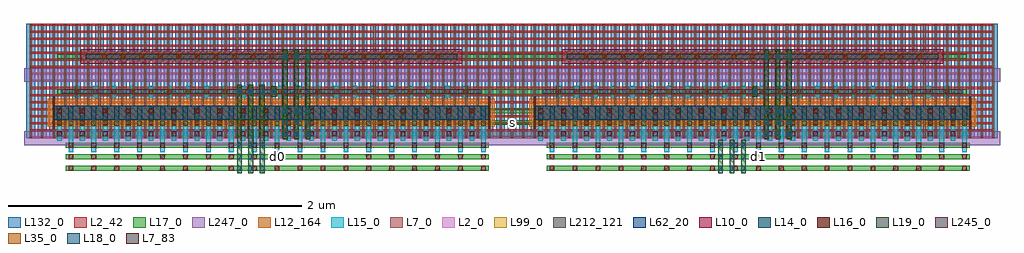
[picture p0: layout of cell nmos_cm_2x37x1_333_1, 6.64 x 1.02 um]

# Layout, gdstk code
import gdstk
lib = gdstk.Library(unit=1e-6, precision=1e-12)
def R(c, l, rs):  # rectangles x0, y0, x1, y1
    for r in rs: c.add(gdstk.rectangle(r[:2], r[2:], *l))
def A(c, l, x, y, w, h, nx, ny, dx, dy):  # array of equal rectangles
    R(c, l, [(x+i*dx, y+j*dy, x+i*dx+w, y+j*dy+h) for i in range(nx) for j in range(ny)])
L2_0 = (2, 0)
L2_42 = (2, 42)
L7_0 = (7, 0)
L7_83 = (7, 83)
L10_0 = (10, 0)
L12_164 = (12, 164)
L14_0 = (14, 0)
L15_0 = (15, 0)
L16_0 = (16, 0)
L17_0 = (17, 0)
L18_0 = (18, 0)
L19_0 = (19, 0)
L35_0 = (35, 0)
L62_20 = (62, 20)
L99_0 = (99, 0)
L132_0 = (132, 0)
L212_121 = (212, 121)
L245_0 = (245, 0)
L247_0 = (247, 0)

nmos_cm_2x37x1_333_1 = lib.new_cell('nmos_cm_2x37x1_333_1')
R(nmos_cm_2x37x1_333_1, L2_0, [(0.186,0.127,3.15,0.223), (3.462,0.127,6.426,0.223), (0.3893,0.527,2.9467,0.587), (3.6653,0.527,6.2227,0.587)])
A(nmos_cm_2x37x1_333_1, L2_42, 0.023, 0, 6.552, 0.014, 1, 17, 0, 0.048)
A(nmos_cm_2x37x1_333_1, L7_0, 0.023, 0, 0.014, 0.782, 85, 1, 0.078, 0)
R(nmos_cm_2x37x1_333_1, L7_83, [(0.179,0.067,0.193,0.283), (3.143,0.067,3.157,0.283), (3.455,0.067,3.469,0.283), (6.419,0.067,6.433,0.283)])
R(nmos_cm_2x37x1_333_1, L10_0, [(0.3693,0.507,2.9667,0.607), (3.6453,0.507,6.2427,0.607)])
R(nmos_cm_2x37x1_333_1, L12_164, [(0.147,0.079,3.189,0.271), (3.423,0.079,6.465,0.271)])
A(nmos_cm_2x37x1_333_1, L14_0, 0.208, 0.127, 0.034, 0.096, 38, 1, 0.078, 0)
A(nmos_cm_2x37x1_333_1, L14_0, 3.484, 0.127, 0.034, 0.096, 38, 1, 0.078, 0)
R(nmos_cm_2x37x1_333_1, L14_0, [(0.4043,0.537,2.9317,0.577), (3.6803,0.537,6.2077,0.577)])
A(nmos_cm_2x37x1_333_1, L15_0, 0.287, -0.095, 0.032, 0.223, 19, 1, 0.156, 0)
A(nmos_cm_2x37x1_333_1, L15_0, 3.563, -0.095, 0.032, 0.223, 19, 1, 0.156, 0)
A(nmos_cm_2x37x1_333_1, L15_0, 0.209, -0.017, 0.032, 0.24, 38, 1, 0.078, 0)
A(nmos_cm_2x37x1_333_1, L15_0, 3.485, -0.017, 0.032, 0.24, 38, 1, 0.078, 0)
A(nmos_cm_2x37x1_333_1, L15_0, 0.329, 0.278, 0.032, 0.08, 22, 1, 0.126, 0)
A(nmos_cm_2x37x1_333_1, L15_0, 3.605, 0.278, 0.032, 0.08, 22, 1, 0.126, 0)
A(nmos_cm_2x37x1_333_1, L15_0, 0.518, 0.517, 0.032, 0.08, 19, 1, 0.126, 0)
A(nmos_cm_2x37x1_333_1, L15_0, 3.794, 0.517, 0.032, 0.08, 19, 1, 0.126, 0)
A(nmos_cm_2x37x1_333_1, L16_0, 0.287, -0.219, 0.032, 0.032, 19, 3, 0.156, 0.078)
A(nmos_cm_2x37x1_333_1, L16_0, 3.563, -0.219, 0.032, 0.032, 19, 3, 0.156, 0.078)
A(nmos_cm_2x37x1_333_1, L16_0, 0.209, 0.015, 0.032, 0.032, 19, 3, 0.156, 0.078)
A(nmos_cm_2x37x1_333_1, L16_0, 3.485, 0.015, 0.032, 0.032, 19, 3, 0.156, 0.078)
A(nmos_cm_2x37x1_333_1, L16_0, 0.329, 0.302, 0.032, 0.032, 22, 1, 0.126, 0)
A(nmos_cm_2x37x1_333_1, L16_0, 3.605, 0.302, 0.032, 0.032, 22, 1, 0.126, 0)
A(nmos_cm_2x37x1_333_1, L16_0, 0.518, 0.541, 0.032, 0.032, 19, 1, 0.126, 0)
A(nmos_cm_2x37x1_333_1, L16_0, 3.794, 0.541, 0.032, 0.032, 19, 1, 0.126, 0)
A(nmos_cm_2x37x1_333_1, L17_0, 0.267, -0.219, 2.88, 0.032, 1, 3, 0, 0.078)
A(nmos_cm_2x37x1_333_1, L17_0, 3.543, -0.219, 2.88, 0.032, 1, 3, 0, 0.078)
A(nmos_cm_2x37x1_333_1, L17_0, 0.186, 0.015, 2.964, 0.032, 1, 3, 0, 0.078)
A(nmos_cm_2x37x1_333_1, L17_0, 3.14, 0.015, 0.332, 0.032, 1, 3, 0, 0.078)
A(nmos_cm_2x37x1_333_1, L17_0, 3.462, 0.015, 2.964, 0.032, 1, 3, 0, 0.078)
R(nmos_cm_2x37x1_333_1, L17_0, [(0.209,0.302,3.127,0.334), (3.117,0.302,3.495,0.334), (3.485,0.302,6.403,0.334), (0.209,0.541,3.127,0.573), (3.117,0.541,3.495,0.573), (3.485,0.541,6.403,0.573)])
A(nmos_cm_2x37x1_333_1, L18_0, 1.434, -0.219, 0.032, 0.032, 3, 3, 0.078, 0.078)
A(nmos_cm_2x37x1_333_1, L18_0, 4.71, -0.219, 0.032, 0.032, 3, 3, 0.078, 0.078)
A(nmos_cm_2x37x1_333_1, L18_0, 1.746, 0.015, 0.032, 0.032, 3, 3, 0.078, 0.078)
A(nmos_cm_2x37x1_333_1, L18_0, 5.022, 0.015, 0.032, 0.032, 3, 3, 0.078, 0.078)
A(nmos_cm_2x37x1_333_1, L18_0, 1.434, 0.302, 0.032, 0.032, 4, 1, 0.078, 0)
A(nmos_cm_2x37x1_333_1, L18_0, 1.746, 0.541, 0.032, 0.032, 3, 1, 0.078, 0)
A(nmos_cm_2x37x1_333_1, L18_0, 5.022, 0.541, 0.032, 0.032, 3, 1, 0.078, 0)
R(nmos_cm_2x37x1_333_1, L18_0, [(4.944,0.302,4.976,0.334)])
A(nmos_cm_2x37x1_333_1, L19_0, 1.434, -0.239, 0.032, 0.228, 3, 1, 0.078, 0)
A(nmos_cm_2x37x1_333_1, L19_0, 4.71, -0.239, 0.032, 0.228, 3, 1, 0.078, 0)
A(nmos_cm_2x37x1_333_1, L19_0, 1.434, -0.021, 0.032, 0.385, 3, 1, 0.078, 0)
A(nmos_cm_2x37x1_333_1, L19_0, 1.746, -0.005, 0.032, 0.228, 3, 1, 0.078, 0)
A(nmos_cm_2x37x1_333_1, L19_0, 5.022, -0.005, 0.032, 0.228, 3, 1, 0.078, 0)
A(nmos_cm_2x37x1_333_1, L19_0, 1.746, 0.213, 0.032, 0.39, 3, 1, 0.078, 0)
A(nmos_cm_2x37x1_333_1, L19_0, 5.022, 0.213, 0.032, 0.39, 3, 1, 0.078, 0)
R(nmos_cm_2x37x1_333_1, L19_0, [(1.668,0.282,1.7,0.354), (4.944,0.282,4.976,0.354)])
A(nmos_cm_2x37x1_333_1, L35_0, 0.209, 0.087, 0.032, 0.032, 38, 1, 0.078, 0)
A(nmos_cm_2x37x1_333_1, L35_0, 3.485, 0.087, 0.032, 0.032, 38, 1, 0.078, 0)
A(nmos_cm_2x37x1_333_1, L35_0, 0.329, 0.302, 0.032, 0.032, 22, 1, 0.126, 0)
A(nmos_cm_2x37x1_333_1, L35_0, 3.605, 0.302, 0.032, 0.032, 22, 1, 0.126, 0)
A(nmos_cm_2x37x1_333_1, L35_0, 0.518, 0.541, 0.032, 0.032, 19, 1, 0.126, 0)
A(nmos_cm_2x37x1_333_1, L35_0, 3.794, 0.541, 0.032, 0.032, 19, 1, 0.126, 0)
R(nmos_cm_2x37x1_333_1, L62_20, [(0.186,0.127,3.15,0.223), (3.462,0.127,6.426,0.223)])
R(nmos_cm_2x37x1_333_1, L99_0, [(0.186,0.127,3.15,0.223), (3.462,0.127,6.426,0.223), (0.3993,0.532,2.9367,0.582), (3.6753,0.532,6.2127,0.582)])
A(nmos_cm_2x37x1_333_1, L132_0, 0, 0, 0.06, 0.782, 85, 1, 0.078, 0)
R(nmos_cm_2x37x1_333_1, L212_121, [(0.186,0.127,3.15,0.223), (3.462,0.127,6.426,0.223)])
R(nmos_cm_2x37x1_333_1, L245_0, [(0.241,0.303,3.095,0.333), (3.517,0.303,6.371,0.333)])
R(nmos_cm_2x37x1_333_1, L247_0, [(-0.016,-0.047,3.352,0.047), (3.26,-0.047,6.628,0.047), (-0.016,0.385,3.352,0.479), (3.26,0.385,6.628,0.479)])
nmos_cm_2x37x1_333_1.add(gdstk.Label('s', (3.306,0.109), layer=16, texttype=20))
nmos_cm_2x37x1_333_1.add(gdstk.Label('d1', (4.983,-0.125), layer=16, texttype=20))
nmos_cm_2x37x1_333_1.add(gdstk.Label('d0', (1.707,-0.125), layer=16, texttype=20))

lib.write_gds('nmos_cm_2x37x1_333_1.gds')
